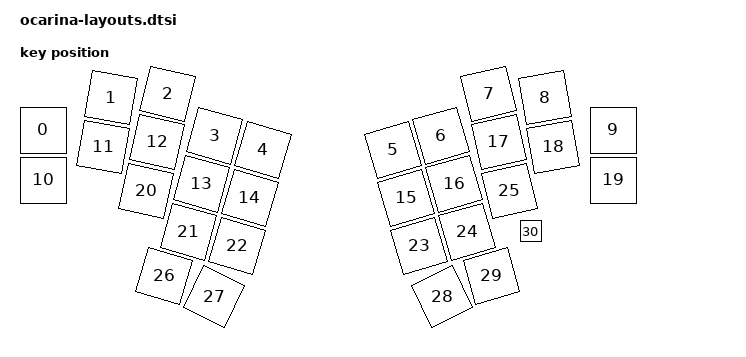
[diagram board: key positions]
#include <physical_layouts.dtsi>
/ {
    ocarina_physical_layout: ocarina_physical_layout {
        compatible = "zmk,physical-layout";
        display-name = "ocarina";
        kscan = <&kscan0>;
        transform = <&default_transform>;

        keys  //                     w   h    x    y     rot    rx    ry
            = <&key_physical_attrs 100 100    0   73       0     0     0>
            , <&key_physical_attrs 100 100  136    8    1000   186    59>
            , <&key_physical_attrs 100 100  249    0    1300   299    50>
            , <&key_physical_attrs 100 100  343   84    1600   393   134>
            , <&key_physical_attrs 100 100  440  113    1600   490   163>
            , <&key_physical_attrs 100 100  700  113 (-1600)   750   163>
            , <&key_physical_attrs 100 100  796   84 (-1600)   846   134>
            , <&key_physical_attrs 100 100  891    0 (-1300)   941    50>
            , <&key_physical_attrs 100 100 1004    8 (-1000)  1054    59>
            , <&key_physical_attrs 100 100 1140   73       0     0     0>
            , <&key_physical_attrs 100 100    0  173       0     0     0>
            , <&key_physical_attrs 100 100  120  107    1000   170   157>
            , <&key_physical_attrs 100 100  228   97    1300   278   147>
            , <&key_physical_attrs 100 100  317  180    1600   367   230>
            , <&key_physical_attrs 100 100  414  209    1600   464   259>
            , <&key_physical_attrs 100 100  726  209 (-1600)   776   259>
            , <&key_physical_attrs 100 100  822  180 (-1600)   872   230>
            , <&key_physical_attrs 100 100  912   97 (-1300)   962   147>
            , <&key_physical_attrs 100 100 1020  107 (-1000)  1070   157>
            , <&key_physical_attrs 100 100 1140  173       0     0     0>
            , <&key_physical_attrs 100 100  206  195    1300   256   245>
            , <&key_physical_attrs 100 100  291  276    1600   341   326>
            , <&key_physical_attrs 100 100  388  305    1600   438   355>
            , <&key_physical_attrs 100 100  752  305 (-1600)   802   355>
            , <&key_physical_attrs 100 100  848  276 (-1600)   898   326>
            , <&key_physical_attrs 100 100  933  195 (-1300)   983   245>
            , <&key_physical_attrs 100 100  242  365    1600   292   415>
            , <&key_physical_attrs 100 100  342  406    2600   392   456>
            , <&key_physical_attrs 100 100  798  406 (-2600)   848   456>
            , <&key_physical_attrs 100 100  897  365 (-1600)   947   415>
            , <&key_physical_attrs  50  50 1000  300       0     0     0>
            ;
    };

    position_map {
        compatible = "zmk,physical-layout-position-map";

        complete;

        ocarina_physical_layout {
            physical-layout = <&ocarina_physical_layout>;
            positions = < 0  1  2  3  4  5  6  7  8  9 >
		      , < 10 11 12 13 14 15 16 17 18 19>
		      , < 20 21 22 23 24 25 >
		      , < 26 27 28 29 30>;
        };
    };
};
